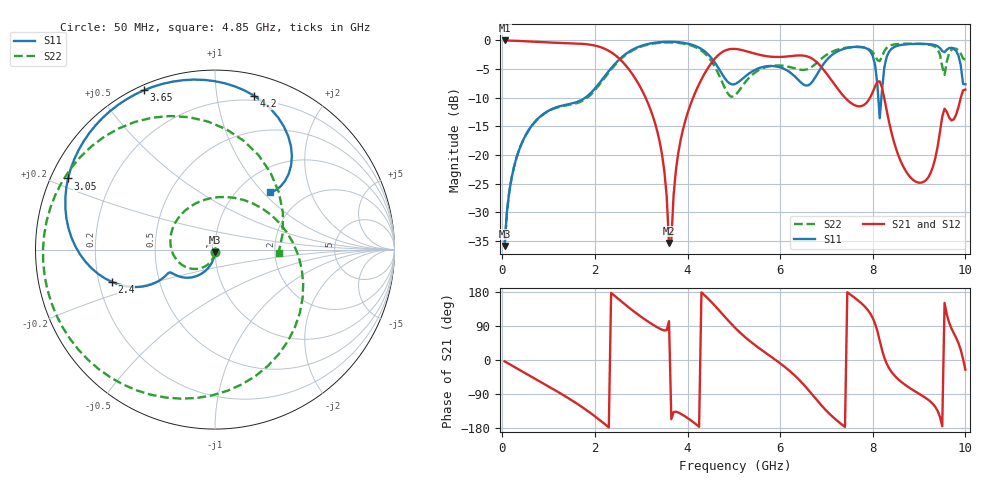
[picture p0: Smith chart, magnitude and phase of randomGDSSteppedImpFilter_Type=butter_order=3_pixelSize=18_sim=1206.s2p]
! freq	dB(S11)	phase(S11)	dB(S12)	phase(S12)
!  dB(S21)	phase(S21)	dB(S22)	phase(S22)
!S-par simulation data
#  GHz  S  DB  R 50
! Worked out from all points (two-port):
!   200 points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, 50 MHz to 10 GHz, reference 50 ohm
!   highest |S21| = -0.01 dB at 50 MHz (marker M1); lowest = -35.3 dB at 3.6 GHz (marker M2)
!   |S21| within 3 dB of the highest: start of sweep to 2.502 GHz; 4.61 GHz to 6.652 GHz (2.042 GHz wide, 36.3 % of centre)
!   lowest |S11| = -35.9 dB at 50 MHz (marker M3), VSWR 1.03, Z = 49.9 - j1.6 ohm
!   |S11| at or under -10 dB: start of sweep to 1.79 GHz; 8.119 GHz to 8.186 GHz (66.87 MHz wide, 0.82 % of centre)
!   |S22| runs from -35.9 to -0.4 dB; largest |S21 - S12| = 0
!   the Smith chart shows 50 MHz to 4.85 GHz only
!   S11 on the Smith chart (normalised r, x): 50 MHz: 1.00, -0.03; 2.4 GHz: 0.25, -0.14; 3.05 GHz: 0.05, +0.23; 3.65 GHz: 0.02, +0.65; 4.2 GHz: 0.16, +1.28; 4.85 GHz: 1.38, +1.10
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0.05  -35.89 -92.4  -0.01 -3.6  -0.01 -3.6  -35.91 -93.8
0.5  -16.62 -118.0  -0.14 -35.1  -0.14 -35.1  -16.64 -133.1
1.75  -10.21 -152.3  -0.61 -126.4  -0.61 -126.4  -10.47 78.1
2.4  -4.39 -162.7  -2.34 171.9  -2.34 171.9  -4.60 -36.5
3.05  -0.82 154.2  -9.24 109.5  -9.24 109.5  -0.94 -119.2
3.4  -0.31 130.5  -17.75 82.7  -17.75 82.7  -0.42 -153.2
3.6  -0.24 117.3  -35.34 102.4  -35.34 102.4  -0.35 -171.4
3.65  -0.25 114.0  -34.90 -156.2  -34.90 -156.2  -0.36 -175.9
3.8  -0.31 104.0  -19.65 -138.6  -19.65 -138.6  -0.43 170.4
4.2  -1.07 75.6  -8.49 -171.2  -8.49 -171.2  -1.29 128.5
4.85  -7.07 46.0  -1.65 108.0  -1.65 108.0  -9.01 -3.1
5.05  -7.53 55.2  -1.50 82.2  -1.50 82.2  -9.41 -73.1
6.05  -4.84 -6.4  -2.87 -13.4  -2.87 -13.4  -4.40 161.1
6.7  -7.15 -164.6  -3.23 -92.2  -3.23 -92.2  -4.52 146.2
7.2  -2.09 84.7  -7.99 -157.0  -7.99 -157.0  -1.70 124.2
7.75  -1.14 25.9  -11.47 150.1  -11.47 150.1  -1.18 92.2
8.05  -4.27 -14.8  -8.03 95.9  -8.03 95.9  -2.68 75.4
8.15  -13.59 9.0  -7.14 51.5  -7.14 51.5  -3.62 83.1
8.35  -2.00 31.0  -14.18 -21.2  -14.18 -21.2  -0.99 78.1
9.1  -0.61 -20.7  -24.68 -96.7  -24.68 -96.7  -0.63 36.3
9.8  -1.83 -55.2  -12.96 58.5  -12.96 58.5  -1.45 16.9
10  -7.65 -26.4  -8.58 -25.4  -8.58 -25.4  -3.34 16.5
